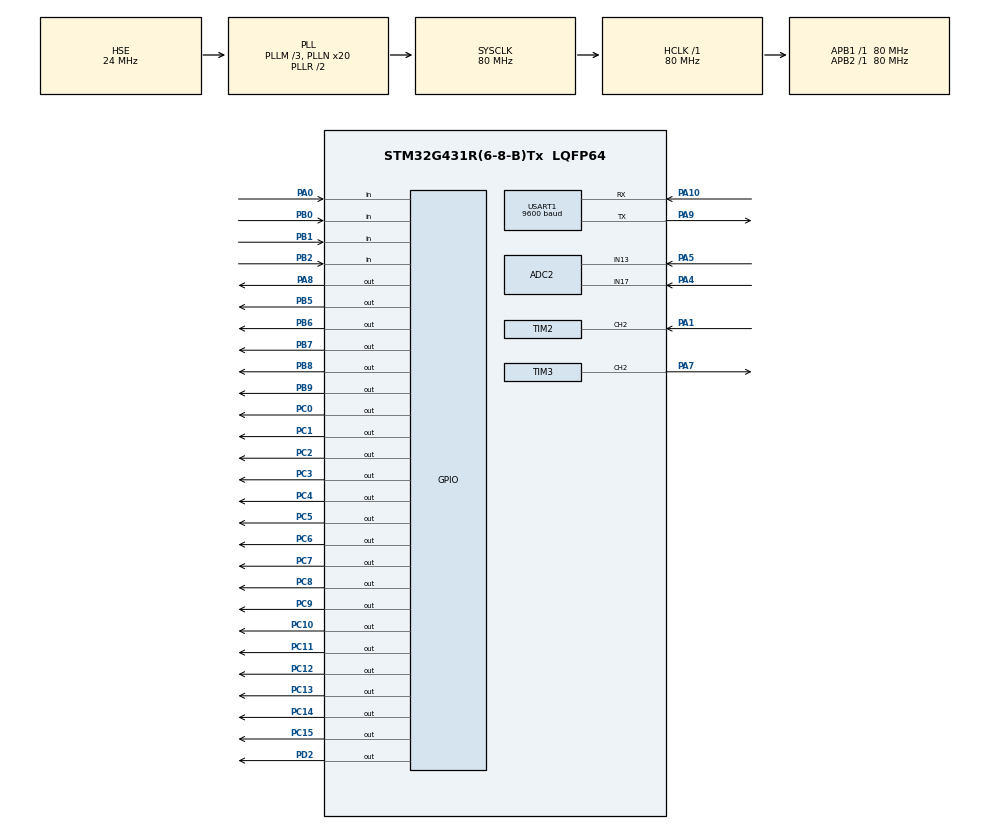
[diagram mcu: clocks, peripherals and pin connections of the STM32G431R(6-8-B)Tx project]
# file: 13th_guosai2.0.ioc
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ADC2.Channel-0\#ChannelRegularConversion=ADC_CHANNEL_17
ADC2.Channel-1\#ChannelRegularConversion=ADC_CHANNEL_13
ADC2.NbrOfConversion=2
ADC2.NbrOfConversionFlag=1
ADC2.OffsetNumber-0\#ChannelRegularConversion=ADC_OFFSET_NONE
ADC2.OffsetNumber-1\#ChannelRegularConversion=ADC_OFFSET_NONE
ADC2.Rank-0\#ChannelRegularConversion=1
ADC2.Rank-1\#ChannelRegularConversion=2
ADC2.SamplingTime-0\#ChannelRegularConversion=ADC_SAMPLETIME_640CYCLES_5
ADC2.SamplingTime-1\#ChannelRegularConversion=ADC_SAMPLETIME_640CYCLES_5
Mcu.Family=STM32G4
Mcu.Name=STM32G431R(6-8-B)Tx
Mcu.Package=LQFP64
NVIC.PriorityGroup=NVIC_PRIORITYGROUP_4
NVIC.TIM2_IRQn=true\:0\:0\:false\:false\:true\:true\:true\:true
NVIC.TIM4_IRQn=true\:0\:0\:false\:false\:true\:true\:true\:true
NVIC.USART1_IRQn=true\:0\:0\:false\:false\:true\:true\:true\:true
PA0.GPIO_PuPd=GPIO_PULLUP
PA0.Signal=GPIO_Input
PA1.Signal=S_TIM2_CH2
PA10.Mode=Asynchronous
PA10.Signal=USART1_RX
PA13.Mode=Serial_Wire
PA13.Signal=SYS_JTMS-SWDIO
PA14.Mode=Serial_Wire
PA14.Signal=SYS_JTCK-SWCLK
PA4.Mode=IN17-Single-Ended
PA4.Signal=ADC2_IN17
PA5.Mode=IN13-Single-Ended
PA5.Signal=ADC2_IN13
PA7.Signal=S_TIM3_CH2
PA8.Signal=GPIO_Output
PA9.Mode=Asynchronous
PA9.Signal=USART1_TX
PB0.GPIO_PuPd=GPIO_PULLUP
PB0.Signal=GPIO_Input
PB1.GPIO_PuPd=GPIO_PULLUP
PB1.Signal=GPIO_Input
PB2.GPIO_PuPd=GPIO_PULLUP
PB2.Signal=GPIO_Input
PB5.Signal=GPIO_Output
PB6.Signal=GPIO_Output
PB7.Signal=GPIO_Output
PB8-BOOT0.Signal=GPIO_Output
PB9.Signal=GPIO_Output
PC0.Signal=GPIO_Output
PC1.Signal=GPIO_Output
PC10.PinState=GPIO_PIN_SET
PC10.Signal=GPIO_Output
PC11.PinState=GPIO_PIN_SET
PC11.Signal=GPIO_Output
PC12.PinState=GPIO_PIN_SET
PC12.Signal=GPIO_Output
PC13.PinState=GPIO_PIN_SET
PC13.Signal=GPIO_Output
PC14-OSC32_IN.PinState=GPIO_PIN_SET
PC14-OSC32_IN.Signal=GPIO_Output
PC15-OSC32_OUT.PinState=GPIO_PIN_SET
PC15-OSC32_OUT.Signal=GPIO_Output
PC2.Signal=GPIO_Output
PC3.Signal=GPIO_Output
PC4.Signal=GPIO_Output
PC5.Signal=GPIO_Output
PC6.Signal=GPIO_Output
PC7.Signal=GPIO_Output
PC8.PinState=GPIO_PIN_SET
PC8.Signal=GPIO_Output
PC9.PinState=GPIO_PIN_SET
PC9.Signal=GPIO_Output
PD2.Signal=GPIO_Output
PF0-OSC_IN.Mode=HSE-External-Oscillator
PF0-OSC_IN.Signal=RCC_OSC_IN
PF1-OSC_OUT.Mode=HSE-External-Oscillator
PF1-OSC_OUT.Signal=RCC_OSC_OUT
ProjectManager.HeapSize=0x200
ProjectManager.StackSize=0x400
ProjectManager.TargetToolchain=MDK-ARM V5.32
RCC.ADC12Freq_Value=80000000
RCC.AHBFreq_Value=80000000
RCC.APB1Freq_Value=80000000
RCC.APB1TimFreq_Value=80000000
RCC.APB2Freq_Value=80000000
RCC.APB2TimFreq_Value=80000000
RCC.CortexFreq_Value=80000000
RCC.EXTERNAL_CLOCK_VALUE=12288000
RCC.HCLKFreq_Value=80000000
RCC.HSE_VALUE=24000000
RCC.HSI48_VALUE=48000000
RCC.HSI_VALUE=16000000
RCC.LSE_VALUE=32768
RCC.PLLM=RCC_PLLM_DIV3
RCC.PLLN=20
RCC.PLLSourceVirtual=RCC_PLLSOURCE_HSE
RCC.SYSCLKFreq_VALUE=80000000
RCC.SYSCLKSource=RCC_SYSCLKSOURCE_PLLCLK
RCC.USBFreq_Value=80000000
RCC.VCOOutputFreq_Value=160000000
SH.S_TIM2_CH2.0=TIM2_CH2,Input_Capture2_from_TI2
SH.S_TIM3_CH2.0=TIM3_CH2,PWM Generation2 CH2
TIM2.Channel-Input_Capture2_from_TI2=TIM_CHANNEL_2
TIM2.Prescaler=80-1
TIM3.Channel-PWM\ Generation2\ CH2=TIM_CHANNEL_2
TIM3.PeriodNoDither=100-1
TIM3.Prescaler=8000-1
TIM3.PulseNoDither_2=50
TIM4.PeriodNoDither=10000-1
TIM4.Prescaler=80-1
USART1.BaudRate=9600
USART1.VirtualMode-Asynchronous=VM_ASYNC
VP_SYS_VS_DBSignals.Mode=DisableDeadBatterySignals
VP_TIM2_VS_ClockSourceINT.Mode=Internal
VP_TIM3_VS_ClockSourceINT.Mode=Internal
VP_TIM4_VS_ClockSourceINT.Mode=Internal
board=custom

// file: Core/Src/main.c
/* USER CODE BEGIN Header */
/**
  ******************************************************************************
  * @file           : main.c
  * @brief          : Main program body
  ******************************************************************************
  * @attention
  *
  * Copyright (c) 2024 STMicroelectronics.
  * All rights reserved.
  *
  * This software is licensed under terms that can be found in the LICENSE file
  * in the root directory of this software component.
  * If no LICENSE file comes with this software, it is provided AS-IS.
  *
  ******************************************************************************
  */
/* USER CODE END Header */
#include "main.h"
#include "adc.h"
#include "tim.h"
#include "usart.h"
#include "gpio.h"

/* USER CODE BEGIN Includes */

#include "stdio.h"
#include "string.h"

#include "led.h"
#include "lcd.h"
#include "myadc.h"
#include "myusart.h"
#include "timer.h"
#include "i2c_hal.h"

/* USER CODE END Includes */

/* USER CODE BEGIN PTD */

__IO uint32_t uwTick_Lcd;
__IO uint32_t uwTick_Led;
__IO uint32_t uwTick_Pa7;

unsigned char view;
unsigned char view_mode;

unsigned char ucled=0x00;
unsigned char lcd_text[30];
unsigned char usart_text[30];

unsigned int X=1;
unsigned int Y=1;

double PA4_data;
double PA5_data;

unsigned int N_pa4;
double A_pa4;
double T_pa4;
double H_pa4;

unsigned int N_pa5;
double A_pa5;
double T_pa5;
double H_pa5;

unsigned char mode=0;
unsigned char channel=0;
double sum_pa4;
double sum_pa5;
double value[2];

unsigned char LD3_flag=0;

//unsigned int pa7_frq;
unsigned int pre;
/* USER CODE END PTD */

void SystemClock_Config(void);

/* USER CODE BEGIN 0 */

void led_proc(void);
void lcd_proc(void);
void key_proc(void);
void usart_proc(void);
void PA7_proc(void);

/* USER CODE END 0 */

int main(void)
{

  /* MCU Configuration--------------------------------------------------------*/

  /* Reset of all peripherals, Initializes the Flash interface and the Systick. */
  HAL_Init();

  /* Configure the system clock */
  SystemClock_Config();

  /* Initialize all configured peripherals */
  MX_GPIO_Init();
  MX_ADC2_Init();
  MX_TIM2_Init();
  MX_TIM3_Init();
  MX_TIM4_Init();
  MX_USART1_UART_Init();
  /* USER CODE BEGIN 2 */

    led_disp(ucled);

    LCD_Init();
    LCD_Clear(Black);
    LCD_SetBackColor(Black);
    LCD_SetTextColor(White);

    HAL_TIM_Base_Start_IT(&htim4);

    HAL_TIM_IC_Start_IT(&htim2,TIM_CHANNEL_2);

    HAL_TIM_PWM_Start(&htim3,TIM_CHANNEL_2);

    HAL_UART_Receive_IT(&huart1,&rxdat,1);

    //第一次上电
    if(eeprom_read(0x02)!=22&&eeprom_read(0x03)!=33)
    {
        eeprom_write(0x02,22);
        HAL_Delay(2);
        eeprom_write(0x03,33);
        HAL_Delay(2);
        eeprom_write(1,X);//X频率参数
        HAL_Delay(2);
        eeprom_write(0,Y);//Y电压参数
        HAL_Delay(2);
    }
    else//不是第一次上电
    {
        X=eeprom_read(1);
        HAL_Delay(2);
        Y=eeprom_read(0);
        HAL_Delay(2);
    }
    PA7_proc();

  /* USER CODE END 2 */

  /* Infinite loop */
  while (1)
  {

    /* USER CODE BEGIN 3 */

      key_proc();
      //PA7_proc();
      lcd_proc();
      led_proc();

      if(rx_pointer!=0)
      {
          int temp=rx_pointer;
          HAL_Delay(2);
          if(temp==rx_pointer)usart_proc();
      }
  }
  /* USER CODE END 3 */
}

void SystemClock_Config(void)
{
  RCC_OscInitTypeDef RCC_OscInitStruct = {0};
  RCC_ClkInitTypeDef RCC_ClkInitStruct = {0};

  /** Configure the main internal regulator output voltage
  */
  HAL_PWREx_ControlVoltageScaling(PWR_REGULATOR_VOLTAGE_SCALE1);

  /** Initializes the RCC Oscillators according to the specified parameters
  * in the RCC_OscInitTypeDef structure.
  */
  RCC_OscInitStruct.OscillatorType = RCC_OSCILLATORTYPE_HSE;
  RCC_OscInitStruct.HSEState = RCC_HSE_ON;
  RCC_OscInitStruct.PLL.PLLState = RCC_PLL_ON;
  RCC_OscInitStruct.PLL.PLLSource = RCC_PLLSOURCE_HSE;
  RCC_OscInitStruct.PLL.PLLM = RCC_PLLM_DIV3;
  RCC_OscInitStruct.PLL.PLLN = 20;
  RCC_OscInitStruct.PLL.PLLP = RCC_PLLP_DIV2;
  RCC_OscInitStruct.PLL.PLLQ = RCC_PLLQ_DIV2;
  RCC_OscInitStruct.PLL.PLLR = RCC_PLLR_DIV2;
  if (HAL_RCC_OscConfig(&RCC_OscInitStruct) != HAL_OK)
  {
    Error_Handler();
  }

  /** Initializes the CPU, AHB and APB buses clocks
  */
  RCC_ClkInitStruct.ClockType = RCC_CLOCKTYPE_HCLK|RCC_CLOCKTYPE_SYSCLK
                              |RCC_CLOCKTYPE_PCLK1|RCC_CLOCKTYPE_PCLK2;
  RCC_ClkInitStruct.SYSCLKSource = RCC_SYSCLKSOURCE_PLLCLK;
  RCC_ClkInitStruct.AHBCLKDivider = RCC_SYSCLK_DIV1;
  RCC_ClkInitStruct.APB1CLKDivider = RCC_HCLK_DIV1;
  RCC_ClkInitStruct.APB2CLKDivider = RCC_HCLK_DIV1;

  if (HAL_RCC_ClockConfig(&RCC_ClkInitStruct, FLASH_LATENCY_2) != HAL_OK)
  {
    Error_Handler();
  }
}

/* USER CODE BEGIN 4 */
void led_proc(void)
{
    if((uwTick-uwTick_Led)<50)return;
    uwTick_Led=uwTick;

    //倍频模式
    if(0==mode)
    {
        ucled|=0x01;
    }
    else
    {
        ucled&=0xfe;
    }

    //分频模式
    if(1==mode)
    {
        ucled|=0x02;
    }
    else
    {
        ucled&=0xfd;
    }

    if(value[0]>(1.0*value[1]*Y))
    {
        LD3_flag=1;
    }
    else
    {
        LD3_flag=0;
    }

    //正向显示模式
    if(0==view_mode)
    {
        ucled|=0x08;
    }
    else
    {
        ucled&=0xf7;
    }

    led_disp(ucled);
}

void PA7_proc(void)
{
    //if((uwTick-uwTick_Pa7)<50)return;
    //uwTick_Pa7=uwTick;

    //频率=（80000000/预分频系数）/重装载值

    //倍频模式
    if(0==mode)
    {
        pre=(80000000/100)/(pa1_frq*X)-1;
        __HAL_TIM_SET_PRESCALER(&htim3,pre);
         HAL_TIM_GenerateEvent(&htim3, TIM_EVENTSOURCE_UPDATE);
    }
    //分频模式下
    else
    {
        pre=(80000000/100)/(pa1_frq/X)-1;
        __HAL_TIM_SET_PRESCALER(&htim3,pre);
        HAL_TIM_GenerateEvent(&htim3, TIM_EVENTSOURCE_UPDATE);
    }
}

void lcd_proc(void)
{
    if((uwTick-uwTick_Lcd)<100)return;
    uwTick_Lcd=uwTick;

    if(0==view_mode)//正向显示
    {
        LCD_WriteReg(R1,0X0000);
        LCD_WriteReg(R96,0X2700);
    }
    else//翻转显示
    {
        LCD_WriteReg(R1,0X0100);
        LCD_WriteReg(R96,0XA700);
    }

    switch(view)
    {
        case 0://数据界面
            memset(lcd_text,0,sizeof(lcd_text));
            sprintf((char *)lcd_text,"        DATA       ");
            LCD_DisplayStringLine(Line1,lcd_text);

            memset(lcd_text,0,sizeof(lcd_text));
            sprintf((char *)lcd_text,"     PA4=%0.2f        ",value[0]);
            LCD_DisplayStringLine(Line3,lcd_text);

            memset(lcd_text,0,sizeof(lcd_text));
            sprintf((char *)lcd_text,"     PA5=%0.2f        ",value[1]);
            LCD_DisplayStringLine(Line4,lcd_text);

            memset(lcd_text,0,sizeof(lcd_text));
            sprintf((char *)lcd_text,"     PA1=%d        ",pa1_frq);
            LCD_DisplayStringLine(Line5,lcd_text);

            break;
        case 1://参数界面
            memset(lcd_text,0,sizeof(lcd_text));
            sprintf((char *)lcd_text,"        PARA       ");
            LCD_DisplayStringLine(Line1,lcd_text);

            memset(lcd_text,0,sizeof(lcd_text));
            sprintf((char *)lcd_text,"     X=%d          ",X);
            LCD_DisplayStringLine(Line3,lcd_text);

            memset(lcd_text,0,sizeof(lcd_text));
            sprintf((char *)lcd_text,"     Y=%d          ",Y);
            LCD_DisplayStringLine(Line4,lcd_text);

            break;
        case 2://记录界面
            //PA4通道数据
            if(0==channel)
            {
                memset(lcd_text,0,sizeof(lcd_text));
                sprintf((char *)lcd_text,"        REC-PA4        ");
                LCD_DisplayStringLine(Line1,lcd_text);

                memset(lcd_text,0,sizeof(lcd_text));
                sprintf((char *)lcd_text,"     N=%d          ",N_pa4);
                LCD_DisplayStringLine(Line3,lcd_text);

                memset(lcd_text,0,sizeof(lcd_text));
                sprintf((char *)lcd_text,"     A=%0.2f        ",A_pa4);
                LCD_DisplayStringLine(Line4,lcd_text);

                memset(lcd_text,0,sizeof(lcd_text));
                sprintf((char *)lcd_text,"     T=%0.2f        ",T_pa4);
                LCD_DisplayStringLine(Line5,lcd_text);

                memset(lcd_text,0,sizeof(lcd_text));
                sprintf((char *)lcd_text,"     H=%0.2f        ",H_pa4);
                LCD_DisplayStringLine(Line6,lcd_text);

            }
            //PA5通道数据
            else if(1==channel)
            {
                memset(lcd_text,0,sizeof(lcd_text));
                sprintf((char *)lcd_text,"        REC-PA5        ");
                LCD_DisplayStringLine(Line1,lcd_text);

                memset(lcd_text,0,sizeof(lcd_text));
                sprintf((char *)lcd_text,"     N=%d          ",N_pa5);
                LCD_DisplayStringLine(Line3,lcd_text);

                memset(lcd_text,0,sizeof(lcd_text));
                sprintf((char *)lcd_text,"     A=%0.2f        ",A_pa5);
                LCD_DisplayStringLine(Line4,lcd_text);

                memset(lcd_text,0,sizeof(lcd_text));
                sprintf((char *)lcd_text,"     T=%0.2f        ",T_pa5);
                LCD_DisplayStringLine(Line5,lcd_text);

                memset(lcd_text,0,sizeof(lcd_text));
                sprintf((char *)lcd_text,"     H=%0.2f        ",H_pa5);
                LCD_DisplayStringLine(Line6,lcd_text);
            }
            break;
    }
              PA7_proc();
}

void key_proc(void)
{
    if(1==key[0].single_flag)
    {
        key[0].single_flag=0;
        if(1==view)channel=0;

        view++;

        if(3==view)view=0;
        LCD_Clear(Black);
    }
    else if(1==key[1].single_flag)
    {
        key[1].single_flag=0;
        if(1==view)
        {
            X++;
            if(5==X)X=1;
            eeprom_write(1,X);
            HAL_Delay(2);
            PA7_proc();
        }
    }
    else if(1==key[2].single_flag)
    {
        key[2].single_flag=0;
        if(1==view)
        {
            Y++;
            if(5==Y)Y=1;
            eeprom_write(0,Y);
            HAL_Delay(2);
        }
    }
    else if(1==key[3].single_flag)
    {
        key[3].single_flag=0;
        switch(view)
        {
            case 0:
                Get_adc(&hadc2,value);

                N_pa4++;
                N_pa5++;
                sum_pa4+=value[0];
                sum_pa5+=value[1];

                if(value[0]>A_pa4)
                {
                    A_pa4=value[0];
                }
                if(0==T_pa4)
                {
                    T_pa4=value[0];
                }
                else if(T_pa4>value[0])
                {
                    T_pa4=value[0];
                }

                if(value[1]>A_pa5)
                {
                    A_pa5=value[1];
                }

                if(0==T_pa5)
                {
                    T_pa5=value[1];
                }
                else if(T_pa5>value[1])
                {
                    T_pa5=value[1];
                }

                H_pa4=1.0*sum_pa4/N_pa4;
                H_pa5=1.0*sum_pa5/N_pa5;

                break;
            case 1:
                mode=!mode;
                PA7_proc();
                break;
            case 2:
                channel=!channel;
                LCD_Clear(Black);

               break;
        }

    }
     if(1==key[3].long_flag)
        {
            key[3].long_flag=0;
            if(2==view)
            {

                    N_pa4=0;
                    A_pa4=0;
                    T_pa4=0;
                    sum_pa4=0;
                    H_pa4=0;

                    N_pa5=0;
                    A_pa5=0;
                    T_pa5=0;
                    sum_pa5=0;
                    H_pa5=0;

            }
        }
}

void usart_proc(void)
{
    if(rx_pointer!=0)
    {
        if(0==strcmp((char *)rxdata,"#"))
        {
            view_mode=!view_mode;
            LCD_Clear(Black);
        }
        else if(0==strcmp((char *)rxdata,"X"))
        {
            memset(usart_text,0,sizeof(usart_text));
            sprintf((char *)usart_text,"X:%d",X);
            HAL_UART_Transmit(&huart1,usart_text,3,50);
        }
        else if(0==strcmp((char *)rxdata,"Y"))
        {
            memset(usart_text,0,sizeof(usart_text));
            sprintf((char *)usart_text,"Y:%d",Y);
            HAL_UART_Transmit(&huart1,usart_text,3,50);
        }
        else if(0==strcmp((char *)rxdata,"PA1"))
        {
            memset(usart_text,0,sizeof(usart_text));
            sprintf((char *)usart_text,"PA1:%d",pa1_frq);
            HAL_UART_Transmit(&huart1,usart_text,10,50);
        }
        else if(0==strcmp((char *)rxdata,"PA4"))
        {
            memset(usart_text,0,sizeof(usart_text));
            sprintf((char *)usart_text,"PA4:%0.2f",value[0]);
            HAL_UART_Transmit(&huart1,usart_text,8,50);
        }
        else if(0==strcmp((char *)rxdata,"PA5"))
        {
            memset(usart_text,0,sizeof(usart_text));
            sprintf((char *)usart_text,"PA5:%0.2f",value[1]);
            HAL_UART_Transmit(&huart1,usart_text,8,50);
        }

        rx_pointer=0;
        memset(rxdata,0,sizeof(rxdata));
    }
}

/* USER CODE END 4 */

void Error_Handler(void)
{
  __disable_irq();
  while (1)
  {
  }
}
